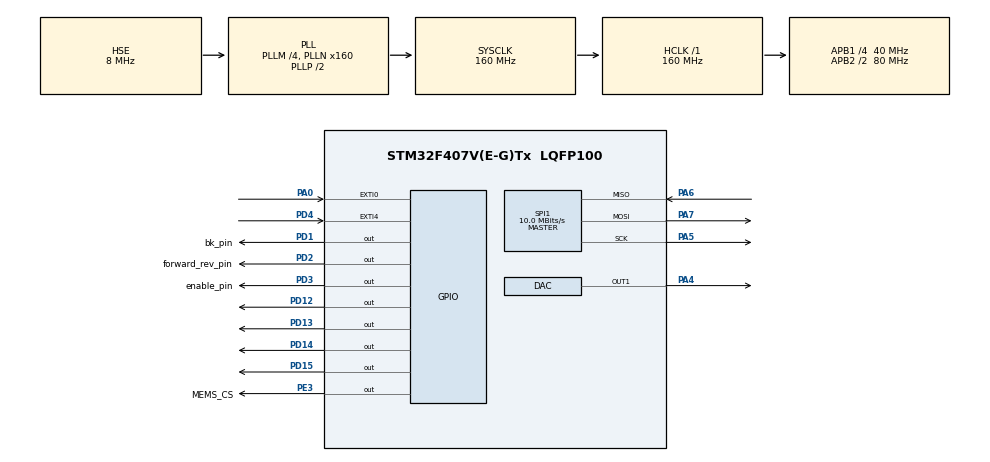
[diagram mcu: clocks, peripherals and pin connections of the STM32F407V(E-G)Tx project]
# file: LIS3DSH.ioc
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DAC.DAC_Trigger=DAC_TRIGGER_T6_TRGO
Dma.DAC1.0.Direction=DMA_MEMORY_TO_PERIPH
Dma.DAC1.0.FIFOMode=DMA_FIFOMODE_DISABLE
Dma.DAC1.0.Instance=DMA1_Stream5
Dma.DAC1.0.MemDataAlignment=DMA_MDATAALIGN_HALFWORD
Dma.DAC1.0.MemInc=DMA_MINC_ENABLE
Dma.DAC1.0.Mode=DMA_CIRCULAR
Dma.DAC1.0.PeriphDataAlignment=DMA_PDATAALIGN_HALFWORD
Dma.DAC1.0.PeriphInc=DMA_PINC_DISABLE
Dma.DAC1.0.Priority=DMA_PRIORITY_LOW
Dma.Request0=DAC1
Mcu.Family=STM32F4
Mcu.Name=STM32F407V(E-G)Tx
Mcu.Package=LQFP100
NVIC.DMA1_Stream5_IRQn=true\:0\:0\:false\:false\:true\:false\:true
NVIC.EXTI0_IRQn=true\:0\:0\:false\:false\:true\:true\:true
NVIC.EXTI4_IRQn=true\:0\:0\:false\:false\:true\:true\:true
NVIC.PriorityGroup=NVIC_PRIORITYGROUP_0
NVIC.RCC_IRQn=true\:0\:0\:false\:false\:true\:true\:false
NVIC.TIM6_DAC_IRQn=true\:0\:0\:false\:false\:true\:true\:true
PA0-WKUP.Signal=GPXTI0
PA4.Signal=COMP_DAC1_group
PA5.Mode=Full_Duplex_Master
PA5.Signal=SPI1_SCK
PA6.Mode=Full_Duplex_Master
PA6.Signal=SPI1_MISO
PA7.Mode=Full_Duplex_Master
PA7.Signal=SPI1_MOSI
PD1.GPIO_Label=bk_pin
PD1.GPIO_PuPd=GPIO_PULLUP
PD1.Signal=GPIO_Output
PD12.Signal=GPIO_Output
PD13.Signal=GPIO_Output
PD14.Signal=GPIO_Output
PD15.Signal=GPIO_Output
PD2.GPIO_Label=forward_rev_pin
PD2.GPIO_PuPd=GPIO_PULLUP
PD2.Signal=GPIO_Output
PD3.GPIO_Label=enable_pin
PD3.GPIO_PuPd=GPIO_PULLUP
PD3.Signal=GPIO_Output
PD4.Signal=GPXTI4
PE3.GPIO_Label=MEMS_CS
PE3.Signal=GPIO_Output
PH0-OSC_IN.Mode=HSE-External-Oscillator
PH0-OSC_IN.Signal=RCC_OSC_IN
PH1-OSC_OUT.Mode=HSE-External-Oscillator
PH1-OSC_OUT.Signal=RCC_OSC_OUT
ProjectManager.HeapSize=0x200
ProjectManager.StackSize=0x400
ProjectManager.TargetToolchain=MDK-ARM V5.27
RCC.48MHZClocksFreq_Value=45714285.71428572
RCC.AHBFreq_Value=160000000
RCC.APB1CLKDivider=RCC_HCLK_DIV4
RCC.APB1Freq_Value=40000000
RCC.APB1TimFreq_Value=80000000
RCC.APB2CLKDivider=RCC_HCLK_DIV2
RCC.APB2Freq_Value=80000000
RCC.APB2TimFreq_Value=160000000
RCC.CortexFreq_Value=160000000
RCC.HCLKFreq_Value=160000000
RCC.HSE_VALUE=8000000
RCC.HSI_VALUE=16000000
RCC.LSE_VALUE=32768
RCC.PLLM=4
RCC.PLLN=160
RCC.PLLQ=7
RCC.PLLSourceVirtual=RCC_PLLSOURCE_HSE
RCC.SYSCLKFreq_VALUE=160000000
RCC.SYSCLKSource=RCC_SYSCLKSOURCE_PLLCLK
RCC.VCOOutputFreq_Value=320000000
SH.COMP_DAC1_group.0=DAC_OUT1,DAC_OUT1
SPI1.BaudRatePrescaler=SPI_BAUDRATEPRESCALER_8
SPI1.CalculateBaudRate=10.0 MBits/s
SPI1.Direction=SPI_DIRECTION_2LINES
SPI1.Mode=SPI_MODE_MASTER
SPI1.VirtualType=VM_MASTER
TIM6.Period=1000-1
TIM6.Prescaler=80-1
TIM6.TIM_MasterOutputTrigger=TIM_TRGO_UPDATE
VP_TIM6_VS_ClockSourceINT.Mode=Enable_Timer
board=STM32F407G-DISC1

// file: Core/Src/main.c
/* USER CODE BEGIN Header */
/**
  ******************************************************************************
  * @file           : main.c
  * @brief          : Main program body
  ******************************************************************************
  * @attention
  *
  * <h2><center>&copy; Copyright (c) 2020 STMicroelectronics.
  * All rights reserved.</center></h2>
  *
  * This software component is licensed by ST under BSD 3-Clause license,
  * the "License"; You may not use this file except in compliance with the
  * License. You may obtain a copy of the License at:
  *                        opensource.org/licenses/BSD-3-Clause
  *
  ******************************************************************************
  */
/* USER CODE END Header */
#include "main.h"

/* USER CODE BEGIN PM */
#define sframe 10
/* USER CODE END PM */

DAC_HandleTypeDef hdac;
DMA_HandleTypeDef hdma_dac1;

SPI_HandleTypeDef hspi1;

TIM_HandleTypeDef htim6;

/* USER CODE BEGIN PV */
DAC_HandleTypeDef hdac, hdac_nor;
DMA_HandleTypeDef hdma_dac1;

SPI_HandleTypeDef hspi1;

TIM_HandleTypeDef htim6;
LIS3DSH_InitTypeDef myLIS3DSH_conf;
LIS3DSH_DataScaled myRaw_Data;

//const uint8_t DAC_output[8] = {0, 64, 96, 128, 160, 192, 224, 255};
//const uint16_t DAC_output[9] = {511,1022,1533,2044,2555,3066,3577,4095,4096};
const uint32_t DAC_output = 8191; //4096 max 24v
//const uint32_t DAC_output[9] = {4095,3577,3066,2555,2044,1533,1022,511,0};
uint8_t DAC_value = 0;
Motor_State myMotor_State = Motor_OFF;
/* USER CODE END PV */

void SystemClock_Config(void);
static void MX_GPIO_Init(void);
static void MX_DMA_Init(void);
static void MX_SPI1_Init(void);
static void MX_DAC_Init(void);
static void MX_TIM6_Init(void);
/* USER CODE BEGIN PFP */
void gpio_conf_dac_nor(void);
void DAC_nor_Init(void);
void motor_start_DMA(void);
void motor_start_withoutDMA(void);
void LIS3DSH_value();

void enable_controller(void);
void clockwise_rotation(void);
void counter_clockwise_rotation(void);
void brake_motor(void);
void rm_brake_motor(void);
void detect_slope();
float simple_moving_avg(float *ptrframe, int len, int pos, float nextnum, float *ptrsum);
/* USER CODE END PFP */

int main(void)
{

  /* MCU Configuration--------------------------------------------------------*/

  /* Reset of all peripherals, Initializes the Flash interface and the Systick. */
  HAL_Init();

  /* Configure the system clock */
  SystemClock_Config();

  /* Initialize all configured peripherals */
  MX_GPIO_Init();
  MX_DMA_Init();
  MX_SPI1_Init();
  MX_DAC_Init();
  MX_TIM6_Init();
  /* USER CODE BEGIN 2 */
	enable_controller();
	//gpio_conf_dac_nor(); //without dma
	//DAC_nor_Init();      //without dma
	HAL_TIM_Base_Start(&htim6);

	myLIS3DSH_conf.antiAliasingBW = LIS3DSH_FILTER_BW_50;
	myLIS3DSH_conf.dataRate = LIS3DSH_DATARATE_25;
	myLIS3DSH_conf.enableAxes = LIS3DSH_XYZ_ENABLE;
	myLIS3DSH_conf.fullScale = LIS3DSH_FULLSCALE_4;
	myLIS3DSH_conf.interruptEnable = false;
	LIS3DSH_Init(&hspi1,&myLIS3DSH_conf);
	LIS3DSH_X_calibrate(-975.0,958.0);
	LIS3DSH_Y_calibrate(-1000.0,977.0);
	LIS3DSH_Z_calibrate(-975.0,1007.0);
	//HAL_DAC_Start(&hdac_nor,DAC1_CHANNEL_2); //without dma
	clockwise_rotation();

  /* USER CODE END 2 */

  /* Infinite loop */
  /* USER CODE BEGIN WHILE */

  while (1)
  {
		LIS3DSH_value();
		detect_slope();
		switch(myMotor_State)
		{
			case Motor_ON:
					 rm_brake_motor();
					 motor_start_DMA();
					 //motor_start_withoutDMA(); //without dma
					 break;
			case Motor_OFF:
					 brake_motor();
					 break;
			default:
					 myMotor_State = Motor_OFF;
					 break;
		}
    /* USER CODE END WHILE */

  }
}

void SystemClock_Config(void)
{
  RCC_OscInitTypeDef RCC_OscInitStruct = {0};
  RCC_ClkInitTypeDef RCC_ClkInitStruct = {0};

  /** Configure the main internal regulator output voltage
  */
  __HAL_RCC_PWR_CLK_ENABLE();
  __HAL_PWR_VOLTAGESCALING_CONFIG(PWR_REGULATOR_VOLTAGE_SCALE1);
  /** Initializes the RCC Oscillators according to the specified parameters
  * in the RCC_OscInitTypeDef structure.
  */
  RCC_OscInitStruct.OscillatorType = RCC_OSCILLATORTYPE_HSE;
  RCC_OscInitStruct.HSEState = RCC_HSE_ON;
  RCC_OscInitStruct.PLL.PLLState = RCC_PLL_ON;
  RCC_OscInitStruct.PLL.PLLSource = RCC_PLLSOURCE_HSE;
  RCC_OscInitStruct.PLL.PLLM = 4;
  RCC_OscInitStruct.PLL.PLLN = 160;
  RCC_OscInitStruct.PLL.PLLP = RCC_PLLP_DIV2;
  RCC_OscInitStruct.PLL.PLLQ = 7;
  if (HAL_RCC_OscConfig(&RCC_OscInitStruct) != HAL_OK)
  {
    Error_Handler();
  }
  /** Initializes the CPU, AHB and APB buses clocks
  */
  RCC_ClkInitStruct.ClockType = RCC_CLOCKTYPE_HCLK|RCC_CLOCKTYPE_SYSCLK
                              |RCC_CLOCKTYPE_PCLK1|RCC_CLOCKTYPE_PCLK2;
  RCC_ClkInitStruct.SYSCLKSource = RCC_SYSCLKSOURCE_PLLCLK;
  RCC_ClkInitStruct.AHBCLKDivider = RCC_SYSCLK_DIV1;
  RCC_ClkInitStruct.APB1CLKDivider = RCC_HCLK_DIV4;
  RCC_ClkInitStruct.APB2CLKDivider = RCC_HCLK_DIV2;

  if (HAL_RCC_ClockConfig(&RCC_ClkInitStruct, FLASH_LATENCY_5) != HAL_OK)
  {
    Error_Handler();
  }
}

static void MX_DAC_Init(void)
{

  DAC_ChannelConfTypeDef sConfig = {0};

  /* USER CODE BEGIN DAC_Init 1 */
  /* USER CODE BEGIN 2 */
  /* USER CODE END DAC_Init 1 */
  /** DAC Initialization
  */
  hdac.Instance = DAC;
  if (HAL_DAC_Init(&hdac) != HAL_OK)
  {
    Error_Handler();
  }
  /** DAC channel OUT1 config
  */
  sConfig.DAC_Trigger = DAC_TRIGGER_T6_TRGO;
  sConfig.DAC_OutputBuffer = DAC_OUTPUTBUFFER_ENABLE;
  if (HAL_DAC_ConfigChannel(&hdac, &sConfig, DAC_CHANNEL_1) != HAL_OK)
  {
    Error_Handler();
  }

}

static void MX_SPI1_Init(void)
{

  /* SPI1 parameter configuration*/
  hspi1.Instance = SPI1;
  hspi1.Init.Mode = SPI_MODE_MASTER;
  hspi1.Init.Direction = SPI_DIRECTION_2LINES;
  hspi1.Init.DataSize = SPI_DATASIZE_8BIT;
  hspi1.Init.CLKPolarity = SPI_POLARITY_LOW;
  hspi1.Init.CLKPhase = SPI_PHASE_1EDGE;
  hspi1.Init.NSS = SPI_NSS_SOFT;
  hspi1.Init.BaudRatePrescaler = SPI_BAUDRATEPRESCALER_8;
  hspi1.Init.FirstBit = SPI_FIRSTBIT_MSB;
  hspi1.Init.TIMode = SPI_TIMODE_DISABLE;
  hspi1.Init.CRCCalculation = SPI_CRCCALCULATION_DISABLE;
  hspi1.Init.CRCPolynomial = 10;
  if (HAL_SPI_Init(&hspi1) != HAL_OK)
  {
    Error_Handler();
  }

}

static void MX_TIM6_Init(void)
{

  TIM_MasterConfigTypeDef sMasterConfig = {0};

  htim6.Instance = TIM6;
  htim6.Init.Prescaler = 80-1;
  htim6.Init.CounterMode = TIM_COUNTERMODE_UP;
  htim6.Init.Period = 1000-1;
  htim6.Init.AutoReloadPreload = TIM_AUTORELOAD_PRELOAD_DISABLE;
  if (HAL_TIM_Base_Init(&htim6) != HAL_OK)
  {
    Error_Handler();
  }
  sMasterConfig.MasterOutputTrigger = TIM_TRGO_UPDATE;
  sMasterConfig.MasterSlaveMode = TIM_MASTERSLAVEMODE_DISABLE;
  if (HAL_TIMEx_MasterConfigSynchronization(&htim6, &sMasterConfig) != HAL_OK)
  {
    Error_Handler();
  }

}

static void MX_DMA_Init(void)
{

  /* DMA controller clock enable */
  __HAL_RCC_DMA1_CLK_ENABLE();

  /* DMA interrupt init */
  /* DMA1_Stream5_IRQn interrupt configuration */
  HAL_NVIC_SetPriority(DMA1_Stream5_IRQn, 0, 0);
  HAL_NVIC_EnableIRQ(DMA1_Stream5_IRQn);

}

static void MX_GPIO_Init(void)
{
  GPIO_InitTypeDef GPIO_InitStruct = {0};

  /* GPIO Ports Clock Enable */
  __HAL_RCC_GPIOE_CLK_ENABLE();
  __HAL_RCC_GPIOH_CLK_ENABLE();
  __HAL_RCC_GPIOA_CLK_ENABLE();
  __HAL_RCC_GPIOD_CLK_ENABLE();

  /*Configure GPIO pin Output Level */
  HAL_GPIO_WritePin(MEMS_CS_GPIO_Port, MEMS_CS_Pin, GPIO_PIN_RESET);

  /*Configure GPIO pin Output Level */
  HAL_GPIO_WritePin(GPIOD, GPIO_PIN_12|GPIO_PIN_13|GPIO_PIN_14|GPIO_PIN_15
                          |bk_pin_Pin|forward_rev_pin_Pin|enable_pin_Pin, GPIO_PIN_RESET);

  /*Configure GPIO pin : MEMS_CS_Pin */
  GPIO_InitStruct.Pin = MEMS_CS_Pin;
  GPIO_InitStruct.Mode = GPIO_MODE_OUTPUT_PP;
  GPIO_InitStruct.Pull = GPIO_NOPULL;
  GPIO_InitStruct.Speed = GPIO_SPEED_FREQ_LOW;
  HAL_GPIO_Init(MEMS_CS_GPIO_Port, &GPIO_InitStruct);

  /*Configure GPIO pin : PA0 */
  GPIO_InitStruct.Pin = GPIO_PIN_0;
  GPIO_InitStruct.Mode = GPIO_MODE_IT_RISING;
  GPIO_InitStruct.Pull = GPIO_NOPULL;
  HAL_GPIO_Init(GPIOA, &GPIO_InitStruct);

  /*Configure GPIO pins : PD12 PD13 PD14 PD15 */
  GPIO_InitStruct.Pin = GPIO_PIN_12|GPIO_PIN_13|GPIO_PIN_14|GPIO_PIN_15;
  GPIO_InitStruct.Mode = GPIO_MODE_OUTPUT_PP;
  GPIO_InitStruct.Pull = GPIO_NOPULL;
  GPIO_InitStruct.Speed = GPIO_SPEED_FREQ_LOW;
  HAL_GPIO_Init(GPIOD, &GPIO_InitStruct);

  /*Configure GPIO pins : bk_pin_Pin forward_rev_pin_Pin enable_pin_Pin */
  GPIO_InitStruct.Pin = bk_pin_Pin|forward_rev_pin_Pin|enable_pin_Pin;
  GPIO_InitStruct.Mode = GPIO_MODE_OUTPUT_PP;
  GPIO_InitStruct.Pull = GPIO_PULLUP;
  GPIO_InitStruct.Speed = GPIO_SPEED_FREQ_LOW;
  HAL_GPIO_Init(GPIOD, &GPIO_InitStruct);

  /*Configure GPIO pin : PD4 */
  GPIO_InitStruct.Pin = GPIO_PIN_4;
  GPIO_InitStruct.Mode = GPIO_MODE_IT_RISING;
  GPIO_InitStruct.Pull = GPIO_NOPULL;
  HAL_GPIO_Init(GPIOD, &GPIO_InitStruct);

  /* EXTI interrupt init*/
  HAL_NVIC_SetPriority(EXTI0_IRQn, 0, 0);
  HAL_NVIC_EnableIRQ(EXTI0_IRQn);

  HAL_NVIC_SetPriority(EXTI4_IRQn, 0, 0);
  HAL_NVIC_EnableIRQ(EXTI4_IRQn);

}

/* USER CODE BEGIN 4 */
void detect_slope()
{
	static float sum_vlaue=0;
	float y_avg=0;
  static float frame[sframe]={0};
	static int pos=0;

			y_avg=simple_moving_avg(frame,sframe,pos,myRaw_Data.y,&sum_vlaue);
			if(pos>=sframe)
			{
				pos=0;
			}
			else
			{
				pos++;
			}
			if(y_avg>600 && y_avg<977)
			{
				myMotor_State = Motor_ON;
			}
			else if(y_avg<-600 && y_avg>-1000)
			{
				myMotor_State = Motor_OFF;
			}
			else
			{
			}

}
float simple_moving_avg(float *ptrframe, int len, int pos, float nextnum, float *ptrsum)
{
	*ptrsum=*ptrsum-ptrframe[pos]+nextnum;
	ptrframe[pos]=nextnum;
	return *ptrsum/len;
}
void brake_motor(void)
{
	HAL_GPIO_TogglePin(GPIOD,GPIO_PIN_12);
	HAL_GPIO_WritePin(GPIOD, bk_pin_Pin, GPIO_PIN_RESET); //pin pd1
}
void rm_brake_motor(void)
{
	HAL_GPIO_WritePin(GPIOD, bk_pin_Pin, GPIO_PIN_SET); //pin pd1
}
void counter_clockwise_rotation(void)
{
	HAL_GPIO_WritePin(GPIOD, forward_rev_pin_Pin, GPIO_PIN_RESET); //pin pd2
}
void clockwise_rotation(void)
{
	HAL_GPIO_WritePin(GPIOD, forward_rev_pin_Pin, GPIO_PIN_SET);
}
void enable_controller(void)
{
	HAL_GPIO_WritePin(GPIOD, enable_pin_Pin, GPIO_PIN_RESET); //pin pd3
}
void gpio_conf_dac_nor(void)
{
	__HAL_RCC_GPIOA_CLK_ENABLE();

	GPIO_InitTypeDef gpio_dac_nor;
	gpio_dac_nor.Mode = GPIO_MODE_ANALOG;
	gpio_dac_nor.Pin = GPIO_PIN_4;
	gpio_dac_nor.Pull = GPIO_NOPULL;
	gpio_dac_nor.Speed = GPIO_SPEED_FREQ_LOW;

	HAL_GPIO_Init(GPIOA,&gpio_dac_nor);

}
void DAC_nor_Init(void)
{
	__HAL_RCC_DAC_CLK_ENABLE();

	//DAC_HandleTypeDef hdac_nor;
	hdac_nor.Instance = DAC1;
	HAL_DAC_Init(&hdac_nor);
	DAC_ChannelConfTypeDef hdac_channel_nor = {0};
	hdac_channel_nor.DAC_OutputBuffer = DAC_OUTPUTBUFFER_ENABLE;
	hdac_channel_nor.DAC_Trigger = DAC_TRIGGER_NONE;
	if(HAL_DAC_ConfigChannel(&hdac_nor,&hdac_channel_nor,DAC_CHANNEL_2) != HAL_OK)
	{
		Error_Handler();
	}
}
void LIS3DSH_value()
{
	HAL_GPIO_TogglePin(GPIOD, GPIO_PIN_15);
	if(LIS3DSH_PollDRDY(100) == true)
		{
			myRaw_Data = LIS3DSH_GetDataScaled();
		}
		else
		{
		}
}

/*void motor_start_withoutDMA(void) //withoutDMA CHANNEL 2
{
	uint32_t i=0;
	uint32_t conv_DAC_value = 0;
	uint32_t Vref = 5;
	for(i=0;i<255;i+=31)
	{
	DAC_value = i;
	//conv_DAC_value = (DAC_value * 4096UL)/Vref;
		conv_DAC_value = (DAC_value * 255UL)/Vref;
	HAL_GPIO_TogglePin(GPIOD,GPIO_PIN_14);
	HAL_DAC_SetValue(&hdac_nor, DAC1_CHANNEL_2, DAC_ALIGN_8B_R, conv_DAC_value);
	}
}*/
void motor_start_DMA(void)
{

	HAL_GPIO_TogglePin(GPIOD,GPIO_PIN_14);
	if(HAL_DAC_Start_DMA(&hdac, DAC_CHANNEL_1, (uint32_t *) DAC_output, 1, DAC_ALIGN_12B_R) != HAL_OK)
	{
		Error_Handler();
	}
}

/* USER CODE END 4 */

void Error_Handler(void)
{
}

/************************ (C) COPYRIGHT STMicroelectronics *****END OF FILE****/
